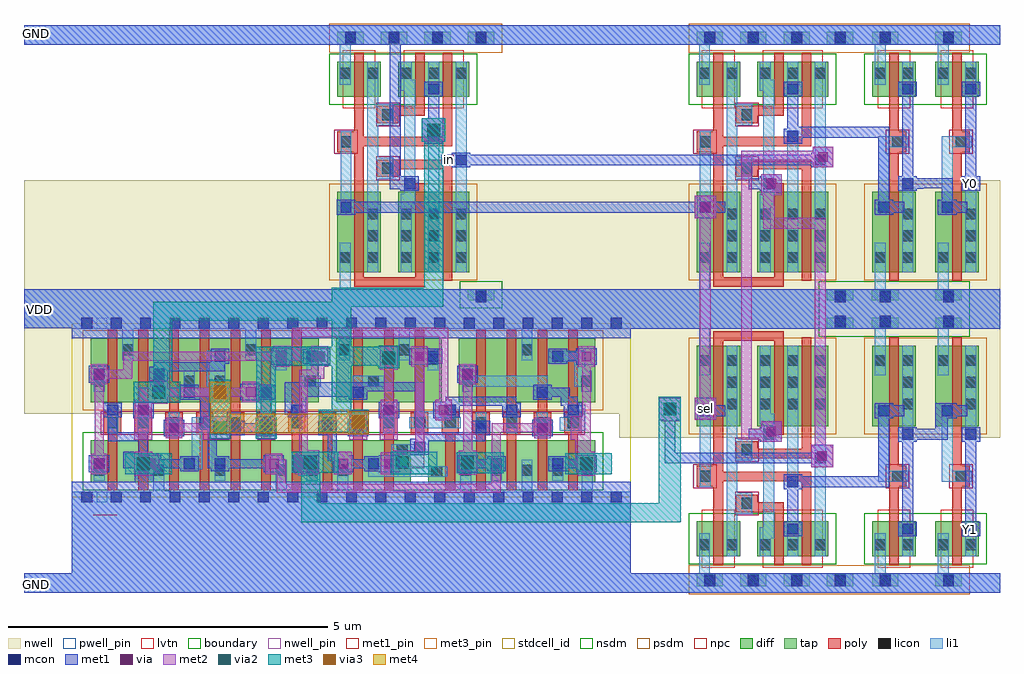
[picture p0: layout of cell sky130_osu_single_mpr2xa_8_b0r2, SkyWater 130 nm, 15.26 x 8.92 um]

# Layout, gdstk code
import gdstk
lib = gdstk.Library(unit=1e-6, precision=1e-09)
def R(c, l, rs):  # rectangles x0, y0, x1, y1
    for r in rs: c.add(gdstk.rectangle(r[:2], r[2:], *l))
def A(c, l, x, y, w, h, nx, ny, dx, dy):  # array of equal rectangles
    R(c, l, [(x+i*dx, y+j*dy, x+i*dx+w, y+j*dy+h) for i in range(nx) for j in range(ny)])
nwell_pin = (64, 16)
nwell = (64, 20)
diff = (65, 20)
tap = (65, 44)
poly = (66, 20)
licon = (66, 44)
li1 = (67, 20)
mcon = (67, 44)
met1_pin = (68, 16)
met1 = (68, 20)
via = (68, 44)
met2 = (69, 20)
via2 = (69, 44)
met3_pin = (70, 16)
met3 = (70, 20)
via3 = (70, 44)
met4 = (71, 20)
stdcell_id = (81, 4)
nsdm = (93, 44)
psdm = (94, 20)
npc = (95, 20)
pwell_pin = (122, 16)
lvtn = (125, 44)
boundary = (235, 4)

sky130_osu_sc_12t_hs__fi = lib.new_cell('sky130_osu_sc_12T_hs__fill_2')
R(sky130_osu_sc_12t_hs__fi, nwell, [(-0.035,2.425,0.25,4.485)])
R(sky130_osu_sc_12t_hs__fi, li1, [(0,0,0.22,0.305), (0,4.135,0.22,4.44)])
R(sky130_osu_sc_12t_hs__fi, met1, [(0,0,0.22,0.305), (0,4.135,0.22,4.44)])
sky130_osu_sc_12t_hs__fi.add(gdstk.Label('vdd', (0.11,4.28), layer=68, texttype=5))
sky130_osu_sc_12t_hs__fi.add(gdstk.Label('gnd', (0.115,0.14), layer=68, texttype=5))

sky130_osu_sc_12t_hs__mu = lib.new_cell('sky130_osu_sc_12T_hs__mux2_1')
R(sky130_osu_sc_12t_hs__mu, nwell, [(-0.045,2.425,2.765,4.515)])
R(sky130_osu_sc_12t_hs__mu, diff, [(0.135,0.575,0.815,1.125), (1.085,0.575,2.195,1.125), (0.135,2.605,0.815,3.865), (1.085,2.605,2.195,3.865)])
A(sky130_osu_sc_12t_hs__mu, tap, 0.135, 0.105, 0.41, 0.2, 4, 1, 0.68, 0)
R(sky130_osu_sc_12t_hs__mu, tap, [(2.17,4.135,2.585,4.305)])
R(sky130_osu_sc_12t_hs__mu, poly, [(0.4,0.445,0.55,1.66), (1.35,0.445,1.5,1.265), (1.78,0.445,1.93,1.745), (0.76,1.265,1.5,1.415), (0.76,1.415,1.09,1.535), (0.135,1.66,0.55,1.745), (0.135,1.745,1.93,1.895), (0.135,1.895,0.55,1.99), (0.4,1.99,0.55,3.94), (0.76,2.105,1.93,2.255), (0.76,2.255,1.09,2.375), (1.78,2.255,1.93,3.995), (1.35,2.475,1.5,3.94), (0.4,3.94,1.5,4.09)])
A(sky130_osu_sc_12t_hs__mu, licon, 0.255, 0.135, 0.17, 0.17, 4, 1, 0.68, 0)
A(sky130_osu_sc_12t_hs__mu, licon, 1.125, 0.67, 0.17, 0.17, 3, 2, 0.43, 2.2)
A(sky130_osu_sc_12t_hs__mu, licon, 0.605, 2.87, 0.17, 0.17, 1, 3, 0, 0.34)
A(sky130_osu_sc_12t_hs__mu, licon, 1.125, 3.21, 0.17, 0.17, 3, 2, 0.43, 0.34)
R(sky130_osu_sc_12t_hs__mu, licon, [(0.175,0.67,0.345,0.84), (0.605,0.67,0.775,0.84), (0.84,1.315,1.01,1.485), (0.185,1.74,0.355,1.91), (0.84,2.155,1.01,2.325), (0.175,3.55,0.345,3.72), (2.295,4.135,2.465,4.305)])
R(sky130_osu_sc_12t_hs__mu, li1, [(0,0,2.75,0.305), (0.175,0.305,0.345,0.935), (0.605,0.575,0.775,1.235), (1.125,0.575,1.295,0.855), (1.555,0.575,1.725,1.085), (1.985,0.575,2.155,3.865), (1.125,0.855,1.35,1.025), (1.18,1.025,1.35,2.635), (0.605,1.235,1.01,1.565), (0.605,1.565,0.775,2.075), (1.555,1.655,1.725,3.865), (0.185,1.66,0.355,2.935), (0.605,2.075,1.01,2.405), (0.605,2.405,0.775,3.865), (1.125,2.635,1.35,2.805), (1.125,2.805,1.295,3.865), (0.175,3.405,0.345,4.135), (0,4.135,2.75,4.44)])
A(sky130_osu_sc_12t_hs__mu, mcon, 0.255, 0.105, 0.17, 0.17, 4, 1, 0.68, 0)
R(sky130_osu_sc_12t_hs__mu, mcon, [(1.555,0.915,1.725,1.085), (1.555,1.655,1.725,1.825), (1.985,2.025,2.155,2.195), (1.18,2.395,1.35,2.565), (0.185,2.765,0.355,2.935), (2.295,4.165,2.465,4.335)])
R(sky130_osu_sc_12t_hs__mu, met1, [(0,0,2.75,0.305), (1.495,0.885,1.785,1.115), (1.555,1.115,1.725,1.625), (1.495,1.625,1.785,1.855), (1.925,1.995,2.215,2.025), (1.755,2.025,2.215,2.195), (1.925,2.195,2.215,2.225), (1.12,2.365,1.41,2.395), (0.95,2.395,1.41,2.565), (1.12,2.565,1.41,2.595), (0.125,2.735,0.415,2.765), (0.125,2.765,0.585,2.935), (0.125,2.935,0.415,2.965), (0,4.135,2.75,4.44)])
R(sky130_osu_sc_12t_hs__mu, nsdm, [(0.01,0.45,2.32,1.25), (2.045,4.01,2.71,4.43)])
R(sky130_osu_sc_12t_hs__mu, psdm, [(0.01,-0.02,2.71,0.43), (0.01,2.48,2.32,3.99)])
R(sky130_osu_sc_12t_hs__mu, npc, [(0.74,1.215,1.11,1.585), (0.085,1.64,0.455,2.01), (0.74,2.055,1.11,2.425)])
R(sky130_osu_sc_12t_hs__mu, lvtn, [(0.22,0.395,0.73,1.305), (1.17,0.395,2.11,1.305)])
sky130_osu_sc_12t_hs__mu.add(gdstk.Label('S0', (0.27,2.85), layer=68, texttype=5))
sky130_osu_sc_12t_hs__mu.add(gdstk.Label('Y', (1.64,1.74), layer=68, texttype=5))
sky130_osu_sc_12t_hs__mu.add(gdstk.Label('A0', (1.265,2.48), layer=68, texttype=5))
sky130_osu_sc_12t_hs__mu.add(gdstk.Label('A1', (2.07,2.11), layer=68, texttype=5))
sky130_osu_sc_12t_hs__mu.add(gdstk.Label('VDD', (2.38,4.2), layer=68, texttype=5))
sky130_osu_sc_12t_hs__mu.add(gdstk.Label('GND ', (0.34,0.24), layer=68, texttype=5))

c_sky130_osu_sc_12t_hs__fi = lib.new_cell('sky130_osu_sc_12T_hs__fill_8')
R(c_sky130_osu_sc_12t_hs__fi, nwell, [(-0.045,2.425,0.895,4.485)])
R(c_sky130_osu_sc_12t_hs__fi, li1, [(0,0,0.88,0.305), (0,4.135,0.88,4.44)])
R(c_sky130_osu_sc_12t_hs__fi, met1, [(0,0,0.88,0.305), (0,4.135,0.88,4.44)])
c_sky130_osu_sc_12t_hs__fi.add(gdstk.Label('vdd', (0.555,4.295), layer=68, texttype=5))
c_sky130_osu_sc_12t_hs__fi.add(gdstk.Label('gnd', (0.56,0.14), layer=68, texttype=5))

sky130_osu_sc_12t_hs__in = lib.new_cell('sky130_osu_sc_12T_hs__inv_1')
R(sky130_osu_sc_12t_hs__in, nwell, [(-0.05,2.425,0.995,4.515)])
R(sky130_osu_sc_12t_hs__in, diff, [(0.135,0.575,0.815,1.125), (0.135,2.605,0.815,3.865)])
R(sky130_osu_sc_12t_hs__in, tap, [(0.135,0.105,0.545,0.305), (0.13,4.135,0.55,4.305)])
R(sky130_osu_sc_12t_hs__in, poly, [(0.4,0.445,0.55,1.66), (0.4,1.66,0.67,1.99), (0.4,1.99,0.55,3.995)])
A(sky130_osu_sc_12t_hs__in, licon, 0.605, 2.87, 0.17, 0.17, 1, 3, 0, 0.34)
R(sky130_osu_sc_12t_hs__in, licon, [(0.255,0.135,0.425,0.305), (0.175,0.67,0.345,0.84), (0.605,0.67,0.775,0.84), (0.45,1.74,0.62,1.91), (0.175,3.55,0.345,3.72), (0.255,4.135,0.425,4.305)])
R(sky130_osu_sc_12t_hs__in, li1, [(0,0,0.99,0.305), (0.175,0.305,0.345,0.935), (0.605,0.575,0.775,1.085), (0.235,1.74,0.7,1.91), (0.235,1.91,0.405,2.935), (0.605,2.395,0.775,3.865), (0.175,3.405,0.345,4.135), (0,4.135,0.99,4.44)])
R(sky130_osu_sc_12t_hs__in, mcon, [(0.255,0.105,0.425,0.275), (0.605,0.915,0.775,1.085), (0.605,2.395,0.775,2.565), (0.235,2.765,0.405,2.935), (0.255,4.165,0.425,4.335)])
R(sky130_osu_sc_12t_hs__in, met1, [(0,0,0.99,0.305), (0.545,0.885,0.835,1.115), (0.605,1.115,0.775,2.365), (0.545,2.365,0.835,2.595), (0.175,2.735,0.465,2.765), (0.175,2.765,0.635,2.935), (0.175,2.935,0.465,2.965), (0,4.135,0.99,4.44)])
R(sky130_osu_sc_12t_hs__in, nsdm, [(0.01,0.45,0.94,1.25), (0.005,4.01,0.675,4.43)])
R(sky130_osu_sc_12t_hs__in, psdm, [(0.01,-0.02,0.67,0.43), (0.01,2.48,0.94,3.99)])
R(sky130_osu_sc_12t_hs__in, npc, [(0.35,1.64,0.72,2.01)])
R(sky130_osu_sc_12t_hs__in, lvtn, [(0.22,0.395,0.73,1.305)])
sky130_osu_sc_12t_hs__in.add(gdstk.Label('Y', (0.755,1.725), layer=68, texttype=5))
sky130_osu_sc_12t_hs__in.add(gdstk.Label('A', (0.32,2.85), layer=68, texttype=5))
sky130_osu_sc_12t_hs__in.add(gdstk.Label('VDD', (0.34,4.2), layer=68, texttype=5))
sky130_osu_sc_12t_hs__in.add(gdstk.Label('GND', (0.34,0.24), layer=68, texttype=5))

scs130hd_mpr2xa_8 = lib.new_cell('scs130hd_mpr2xa_8')
R(scs130hd_mpr2xa_8, nwell_pin, [(0.385,2.635,0.555,2.805)])
R(scs130hd_mpr2xa_8, nwell, [(-0.24,1.305,8.98,2.91)])
R(scs130hd_mpr2xa_8, diff, [(0.29,0.235,5.3,0.885), (5.57,0.235,8.18,0.885), (0.29,1.485,3.86,2.485), (4.13,1.485,5.78,2.485), (6.05,1.485,8.18,2.485)])
A(scs130hd_mpr2xa_8, poly, 0.56, 0.105, 0.15, 0.89, 10, 1, 0.48, 0)
A(scs130hd_mpr2xa_8, poly, 5.84, 0.105, 0.15, 0.89, 5, 1, 0.48, 0)
A(scs130hd_mpr2xa_8, poly, 0.5, 0.995, 0.27, 0.33, 16, 1, 0.48, 0)
A(scs130hd_mpr2xa_8, poly, 0.56, 1.325, 0.15, 1.29, 7, 1, 0.48, 0)
A(scs130hd_mpr2xa_8, poly, 4.4, 1.325, 0.15, 1.29, 3, 1, 0.48, 0)
A(scs130hd_mpr2xa_8, poly, 6.32, 1.325, 0.15, 1.29, 4, 1, 0.48, 0)
A(scs130hd_mpr2xa_8, licon, 1.27, 0.335, 0.17, 0.17, 3, 1, 0.96, 0)
A(scs130hd_mpr2xa_8, licon, 6.07, 0.335, 0.17, 0.17, 4, 1, 0.48, 0)
A(scs130hd_mpr2xa_8, licon, 0.55, 1.075, 0.17, 0.17, 16, 1, 0.48, 0)
A(scs130hd_mpr2xa_8, licon, 1.27, 1.725, 0.17, 0.17, 3, 1, 0.48, 0)
R(scs130hd_mpr2xa_8, licon, [(5.62,0.315,5.79,0.485), (0.34,0.335,0.51,0.505), (3.67,0.335,3.84,0.505), (4.15,0.335,4.32,0.505), (7.97,0.335,8.14,0.505), (5.08,0.655,5.25,0.825), (0.34,1.725,0.51,1.895), (3.64,1.725,3.81,1.895), (4.63,1.725,4.8,1.895), (6.1,1.725,6.27,1.895), (7.96,1.725,8.13,1.895), (3.19,2.065,3.36,2.235), (5.56,2.065,5.73,2.235), (0.79,2.215,0.96,2.385), (2.71,2.215,2.88,2.385), (4.17,2.215,4.34,2.385), (5.11,2.215,5.28,2.385), (7.03,2.215,7.2,2.385)])
R(scs130hd_mpr2xa_8, li1, [(0,-0.085,8.74,0.085), (1.27,0.085,1.44,0.585), (3.19,0.085,3.36,0.585), (4.15,0.085,4.32,0.585), (6.07,0.085,6.24,0.585), (7.03,0.085,7.2,0.585), (7.97,0.085,8.14,0.585), (0.34,0.255,0.51,0.605), (2.23,0.255,2.4,0.605), (3.67,0.255,3.84,0.335), (6.55,0.255,6.72,0.605), (7.51,0.255,7.68,0.605), (4.63,0.315,5.87,0.485), (3.535,0.335,3.84,0.555), (1.75,0.435,2.04,0.605), (4.63,0.485,4.8,0.605), (3.63,0.555,3.84,0.585), (3.63,0.585,3.8,0.605), (1.87,0.605,2.04,1.075), (4.99,0.655,5.52,0.825), (5.35,0.825,5.52,0.865), (0.55,0.995,0.72,1.445), (1.03,0.995,1.2,1.445), (1.51,0.995,1.68,1.325), (2.47,0.995,2.64,1.325), (2.95,0.995,3.12,1.725), (3.43,0.995,3.6,1.445), (3.91,0.995,4.08,1.325), (4.39,0.995,4.56,1.325), (4.87,0.995,5.04,1.445), (6.31,0.995,6.48,1.325), (6.79,0.995,6.96,1.445), (7.27,0.995,7.44,1.325), (7.63,1.035,8.025,1.245), (1.87,1.075,2.24,1.245), (5.27,1.075,6.08,1.245), (5.35,1.245,6,1.345), (7.75,1.245,8.025,1.445), (5.83,1.345,6,1.445), (1.75,1.555,1.92,1.975), (4.39,1.555,4.56,1.725), (7.27,1.555,7.44,1.725), (0.34,1.645,0.51,2.005), (1.27,1.645,1.44,2.005), (2.23,1.645,2.4,1.725), (6.1,1.645,6.27,1.725), (7.96,1.645,8.13,1.725), (2.11,1.725,2.4,2.285), (3.56,1.725,3.89,1.895), (4.39,1.725,4.88,1.895), (6.1,1.725,7.44,1.895), (7.855,1.725,8.13,1.975), (3.67,1.895,3.84,2.285), (6.1,1.895,6.27,2.005), (7.855,1.975,8.025,2.115), (3.19,1.985,3.36,2.315), (5.56,1.985,5.73,2.315), (7.51,2.115,8.025,2.285), (0.79,2.135,0.96,2.635), (2.71,2.135,2.88,2.635), (4.17,2.135,4.34,2.635), (5.11,2.135,5.28,2.635), (7.03,2.135,7.2,2.635), (0,2.635,8.74,2.805)])
A(scs130hd_mpr2xa_8, mcon, 0.145, -0.085, 0.17, 0.17, 19, 2, 0.46, 2.72)
A(scs130hd_mpr2xa_8, mcon, 4.87, 1.275, 0.17, 0.17, 4, 1, 0.96, 0)
R(scs130hd_mpr2xa_8, mcon, [(0.34,0.435,0.51,0.605), (1.75,0.435,1.92,0.605), (2.23,0.435,2.4,0.605), (3.63,0.435,3.8,0.605), (4.63,0.435,4.8,0.605), (6.55,0.435,6.72,0.605), (7.51,0.435,7.68,0.605), (5.35,0.695,5.52,0.865), (1.51,0.995,1.68,1.165), (2.47,0.995,2.64,1.165), (3.91,0.995,4.08,1.165), (4.39,0.995,4.56,1.165), (6.31,0.995,6.48,1.165), (7.27,0.995,7.44,1.165), (0.55,1.275,0.72,1.445), (1.03,1.275,1.2,1.445), (3.43,1.275,3.6,1.445), (1.75,1.555,1.92,1.725), (2.95,1.555,3.12,1.725), (4.39,1.555,4.56,1.725), (7.27,1.555,7.44,1.725), (0.34,1.835,0.51,2.005), (1.27,1.835,1.44,2.005), (6.1,1.835,6.27,2.005), (2.23,2.115,2.4,2.285), (3.19,2.115,3.36,2.285), (3.67,2.115,3.84,2.285), (5.56,2.115,5.73,2.285), (7.51,2.115,7.68,2.285)])
R(scs130hd_mpr2xa_8, met1_pin, [(0.155,-0.085,0.325,0.085), (0.155,2.635,0.325,2.805)])
A(scs130hd_mpr2xa_8, met1, 1.435, 0.95, 0.32, 0.26, 3, 1, 2.88, 0)
R(scs130hd_mpr2xa_8, met1, [(0,-0.24,8.74,0.24), (0.265,0.39,0.585,0.65), (1.075,0.39,1.395,0.45), (2.995,0.39,3.315,0.45), (3.46,0.39,3.86,0.65), (4.075,0.39,4.395,0.45), (4.795,0.39,5.115,0.405), (6.025,0.39,6.345,0.45), (7.885,0.39,8.205,0.45), (1.69,0.405,1.98,0.45), (2.17,0.405,2.46,0.45), (4.57,0.405,5.115,0.45), (6.49,0.405,6.78,0.45), (7.45,0.405,7.74,0.45), (0.805,0.45,1.98,0.59), (2.125,0.45,3.315,0.59), (4.075,0.45,5.115,0.57), (6.025,0.45,6.78,0.59), (7.45,0.45,8.205,0.59), (4,0.57,5.115,0.59), (0.805,0.59,1.395,0.65), (1.69,0.59,1.98,0.635), (2.125,0.59,2.46,0.635), (2.995,0.59,3.315,0.65), (4,0.59,4.395,0.65), (4.57,0.59,5.115,0.635), (6.025,0.59,6.345,0.65), (6.49,0.59,6.78,0.635), (7.45,0.59,7.74,0.635), (7.885,0.59,8.205,0.65), (2.125,0.635,2.265,1.05), (4.795,0.635,5.115,0.65), (0.805,0.65,1.185,0.71), (4,0.65,4.305,0.71), (5.29,0.665,5.58,0.87), (1.045,0.71,1.185,0.87), (4,0.71,4.14,0.965), (0.565,0.87,1.185,1.01), (5.29,0.87,6.465,0.915), (5.365,0.915,6.465,0.965), (2.875,0.95,3.195,1.01), (2.41,0.965,2.7,1.01), (3.85,0.965,4.14,1.195), (5.365,0.965,6.54,1.01), (0.565,1.01,0.705,1.245), (2.41,1.01,3.195,1.15), (5.365,1.01,5.505,1.655), (6.25,1.01,6.54,1.195), (2.005,1.05,2.265,1.19), (2.41,1.15,2.7,1.195), (2.875,1.15,3.195,1.21), (2.005,1.19,2.145,1.525), (0.955,1.23,1.275,1.49), (4.795,1.23,5.115,1.49), (5.65,1.23,5.97,1.245), (0.49,1.245,0.78,1.475), (3.37,1.245,3.66,1.29), (5.65,1.245,6.06,1.43), (6.73,1.245,7.02,1.43), (7.69,1.245,7.98,1.43), (3.325,1.29,3.66,1.57), (5.65,1.43,7.02,1.475), (7.645,1.43,7.98,1.475), (5.65,1.475,6.945,1.49), (7.645,1.475,7.905,1.57), (5.845,1.49,6.945,1.57), (2.635,1.51,2.955,1.525), (1.69,1.525,2.145,1.71), (2.635,1.525,3.18,1.755), (4.33,1.525,4.62,1.57), (7.21,1.525,7.5,1.57), (3.325,1.57,4.62,1.655), (7.21,1.57,7.785,1.71), (3.325,1.655,5.505,1.795), (1.69,1.71,1.98,1.755), (7.21,1.71,7.5,1.755), (2.635,1.755,2.955,1.77), (0.265,1.79,0.585,2.05), (6.025,1.79,6.345,2.05), (1.21,1.805,1.5,1.965), (1.21,1.965,2.385,2.035), (1.285,2.035,2.385,2.085), (3.115,2.07,3.435,2.33), (3.715,2.07,4.035,2.085), (5.275,2.07,5.595,2.085), (7.885,2.07,8.205,2.13), (1.285,2.085,2.46,2.105), (3.61,2.085,4.035,2.315), (5.275,2.085,5.79,2.315), (7.45,2.085,7.74,2.13), (2.17,2.105,2.46,2.315), (7.45,2.13,8.205,2.27), (7.45,2.27,7.74,2.315), (7.885,2.27,8.205,2.33), (3.715,2.315,4.035,2.33), (5.275,2.315,5.595,2.33), (0,2.48,8.74,2.96)])
A(scs130hd_mpr2xa_8, via, 1.52, 1.005, 0.15, 0.15, 3, 1, 1.44, 0)
R(scs130hd_mpr2xa_8, via, [(0.35,0.445,0.5,0.595), (1.16,0.445,1.31,0.595), (3.08,0.445,3.23,0.595), (3.545,0.445,3.695,0.595), (4.16,0.445,4.31,0.595), (4.88,0.445,5.03,0.595), (6.11,0.445,6.26,0.595), (7.97,0.445,8.12,0.595), (7.28,1.005,7.43,1.155), (1.04,1.285,1.19,1.435), (4.88,1.285,5.03,1.435), (5.735,1.285,5.885,1.435), (2.72,1.565,2.87,1.715), (0.35,1.845,0.5,1.995), (6.11,1.845,6.26,1.995), (3.2,2.125,3.35,2.275), (3.8,2.125,3.95,2.275), (5.36,2.125,5.51,2.275), (7.97,2.125,8.12,2.275)])
A(scs130hd_mpr2xa_8, met2, 0.975, 0.895, 0.28, 0.37, 3, 1, 1.92, 0)
R(scs130hd_mpr2xa_8, met2, [(3.205,0.07,6.705,0.21), (3.205,0.21,3.345,0.36), (6.565,0.21,6.705,1.01), (0.975,0.335,1.255,0.36), (7.905,0.335,8.185,0.45), (6.045,0.35,6.325,0.72), (4.825,0.355,5.305,0.45), (0.295,0.36,0.555,0.68), (0.975,0.36,1.365,0.68), (3.025,0.36,3.345,0.59), (3.49,0.36,3.865,0.68), (4.095,0.36,4.375,0.705), (4.825,0.45,5.505,0.7), (7.87,0.45,8.185,0.705), (3.025,0.59,3.285,0.68), (0.355,0.68,0.495,1.76), (0.975,0.68,1.255,0.705), (3.55,0.68,3.865,0.73), (5.025,0.7,5.505,0.725), (7.87,0.705,8.115,0.895), (6.115,0.72,6.255,1.76), (5.365,0.725,5.505,2.04), (3.55,0.73,3.69,1.85), (2.055,0.895,2.465,1.01), (4.335,0.895,4.615,1.36), (7.8,0.895,8.115,1.265), (1.465,0.92,1.725,1.01), (7.225,0.92,7.485,1.01), (1.465,1.01,2.465,1.15), (6.565,1.01,7.485,1.15), (1.465,1.15,1.725,1.24), (2.055,1.15,2.465,1.265), (7.225,1.15,7.485,1.24), (5.68,1.2,5.94,1.52), (0.985,1.265,1.245,1.455), (4.825,1.265,5.085,1.52), (7.975,1.265,8.115,2.04), (0.985,1.455,1.495,1.52), (2.665,1.48,2.925,1.57), (1.045,1.52,1.495,1.57), (4.885,1.52,5.025,1.99), (5.74,1.52,5.88,2.51), (1.045,1.57,2.925,1.71), (1.215,1.71,1.495,1.825), (2.665,1.71,2.925,1.8), (0.295,1.76,0.555,1.85), (6.055,1.76,6.315,2.08), (0.295,1.85,0.945,1.99), (3.55,1.85,3.945,1.99), (0.295,1.99,0.555,2.08), (0.805,1.99,0.945,2.13), (3.745,1.99,3.945,2.04), (4.815,1.99,5.095,2.36), (3.145,2.04,3.405,2.13), (3.745,2.04,4.005,2.36), (5.305,2.04,5.565,2.36), (7.915,2.04,8.175,2.36), (0.805,2.13,3.585,2.27), (3.145,2.27,3.585,2.36), (3.445,2.36,3.585,2.51), (3.445,2.51,5.88,2.65)])
R(scs130hd_mpr2xa_8, via2, [(1.015,0.42,1.215,0.62), (7.945,0.42,8.145,0.62), (6.085,0.435,6.285,0.635), (5.065,0.44,5.265,0.64), (3.625,0.445,3.825,0.645), (2.22,0.98,2.42,1.18), (2.935,0.98,3.135,1.18), (4.375,1.075,4.575,1.275), (1.255,1.54,1.455,1.74), (4.855,2.075,5.055,2.275)])
R(scs130hd_mpr2xa_8, met3_pin, [(0.83,0.355,1.56,0.685), (4.985,0.355,5.715,0.705), (7.71,0.355,8.44,0.685), (6.02,0.37,6.75,0.7), (3.435,0.38,4.165,0.71), (0.965,1.475,1.695,1.805), (4.79,2.35,5.12,2.365)])
R(scs130hd_mpr2xa_8, met3, [(0.83,0.355,1.56,0.685), (4.985,0.355,5.715,0.705), (7.71,0.355,8.44,0.685), (6.02,0.37,6.75,0.7), (3.435,0.38,4.165,0.71), (2.155,0.915,2.485,1.45), (2.87,0.915,3.2,1.245), (4.335,0.985,4.64,1.015), (4.315,1.015,4.64,1.02), (3.86,1.02,4.64,1.365), (2.885,1.245,3.185,2.05), (2.155,1.45,2.475,1.83), (0.965,1.475,1.695,1.805), (4.79,2.01,5.12,2.05), (2.885,2.05,5.12,2.35), (4.79,2.35,5.12,2.365)])
R(scs130hd_mpr2xa_8, via3, [(4.375,1.075,4.575,1.275), (2.215,1.54,2.415,1.74)])
R(scs130hd_mpr2xa_8, met4, [(4.31,0.985,4.64,1), (2.165,1,4.64,1.3), (2.165,1.3,2.48,1.475), (4.31,1.3,4.64,1.34), (2.15,1.475,2.48,1.805)])
R(scs130hd_mpr2xa_8, stdcell_id, [(0,0,8.74,2.72)])
R(scs130hd_mpr2xa_8, nsdm, [(0.165,0.11,8.305,1.01)])
R(scs130hd_mpr2xa_8, psdm, [(0.165,1.36,8.305,2.61)])
R(scs130hd_mpr2xa_8, npc, [(0.45,0.975,8.02,1.345)])
R(scs130hd_mpr2xa_8, pwell_pin, [(0.385,-0.085,0.555,0.085)])
R(scs130hd_mpr2xa_8, boundary, [(0,0,8.74,2.72)])
scs130hd_mpr2xa_8.add(gdstk.Label('VPB', (0.47,2.72), layer=64, texttype=5))
scs130hd_mpr2xa_8.add(gdstk.Label('VNB', (0.47,0), layer=64, texttype=59))
scs130hd_mpr2xa_8.add(gdstk.Label('R0', (5.35,0.53), layer=70, texttype=5))
scs130hd_mpr2xa_8.add(gdstk.Label('R1', (8.075,0.52), layer=70, texttype=5))
scs130hd_mpr2xa_8.add(gdstk.Label('R2', (3.8,0.545), layer=70, texttype=5))
scs130hd_mpr2xa_8.add(gdstk.Label('R3', (6.385,0.535), layer=70, texttype=5))
scs130hd_mpr2xa_8.add(gdstk.Label('B1', (4.955,2.357), layer=70, texttype=5))
scs130hd_mpr2xa_8.add(gdstk.Label('B0', (1.195,0.52), layer=70, texttype=5))
scs130hd_mpr2xa_8.add(gdstk.Label('A0', (1.33,1.64), layer=70, texttype=5))
scs130hd_mpr2xa_8.add(gdstk.Label('vgnd', (0.24,0), layer=68, texttype=5))
scs130hd_mpr2xa_8.add(gdstk.Label('vpwr', (0.24,2.72), layer=68, texttype=5))
scs130hd_mpr2xa_8.add(gdstk.Label('A1', (4.64,1.245), layer=71, texttype=5))

sky130_osu_single_mpr2xa = lib.new_cell('sky130_osu_single_mpr2xa_8_b0r2')
R(sky130_osu_single_mpr2xa, nwell, [(0.485,2.425,1.555,4.135), (6.21,2.425,6.435,6.455), (5.465,2.565,5.615,2.74), (1.66,2.705,2,3.055), (-8.825,2.805,-8.28,4.14), (0.475,4.135,1.605,4.445), (-8.825,4.14,-8.07,4.305), (-8.825,4.305,-0.37,4.4), (-8.825,4.4,-0.205,4.445), (-8.825,4.445,1.605,4.745), (-8.825,4.745,1.555,5.94), (1.66,5.86,2,6.21), (-8.825,5.94,1.53,6.455)])
R(sky130_osu_single_mpr2xa, diff, [(5.895,0.915,6.065,1.085)])
R(sky130_osu_single_mpr2xa, li1, [(-8.825,0,1.81,0.305), (6.255,0,6.435,0.305), (-8.075,0.305,0.665,1.425), (5.895,0.915,6.065,1.085), (-7.95,1.425,0.665,1.5), (-6.725,1.5,-6.53,1.595), (-4.89,1.5,-4.695,1.565), (-3.05,1.5,-2.855,1.595), (-1.2,1.5,-1,1.585), (0.47,1.5,0.665,1.585), (0.475,4.135,1.605,4.295), (6.255,4.135,6.435,4.745), (-8.825,4.14,-8.07,4.305), (-0.505,4.295,1.605,4.305), (-8.825,4.305,1.605,4.615), (-8.825,4.615,-0.37,4.745), (0.475,4.615,1.605,4.745), (5.895,6.315,6.065,6.485), (-8.825,8.575,1.81,8.88), (6.255,8.575,6.435,8.88)])
R(sky130_osu_single_mpr2xa, mcon, [(5.895,0.915,6.065,1.085), (5.895,6.315,6.065,6.485)])
R(sky130_osu_single_mpr2xa, met1_pin, [(5.895,0.915,6.065,1.085), (5.895,6.315,6.065,6.485), (-2.245,6.685,-2.105,6.855)])
R(sky130_osu_single_mpr2xa, met1, [(-8.825,0,1.81,0.305), (6.255,0,6.435,0.305), (-8.075,0.305,0.665,1.425), (5.895,0.915,6.065,1.085), (-7.95,1.425,0.665,1.5), (-6.725,1.5,-6.53,1.595), (-4.89,1.5,-4.695,1.565), (-3.05,1.5,-2.855,1.595), (0.47,1.5,0.665,1.585), (-1.2,1.545,-1,1.585), (0.47,1.585,0.595,1.625), (-7.09,1.655,-6.8,2.055), (3.11,1.655,4.7,1.82), (3.11,1.82,3.28,1.825), (3.34,1.82,4.7,1.825), (4.535,1.825,4.7,2.735), (3.48,1.965,3.83,2.025), (1.19,2.025,3.83,2.195), (1.19,2.195,1.36,2.7), (3.48,2.195,3.83,2.315), (2.705,2.365,3.025,2.395), (2.67,2.395,3.025,2.565), (5.07,2.395,5.615,2.565), (2.705,2.565,3.025,2.685), (5.425,2.565,5.615,2.74), (1.1,2.7,1.44,3.05), (1.66,2.705,2,3.055), (4.535,2.735,4.71,2.75), (5.425,2.74,5.53,2.965), (4.54,2.75,4.71,2.765), (4.535,2.765,4.71,2.8), (4.535,2.8,4.705,2.935), (0.475,4.135,1.605,4.295), (6.255,4.135,6.435,4.745), (-8.825,4.14,-8.07,4.305), (-0.505,4.295,1.605,4.305), (-8.825,4.305,-2.19,4.745), (-1.66,4.305,1.605,4.615), (-1.66,4.615,-0.37,4.745), (0.475,4.615,1.605,4.745), (1.66,5.86,2,5.945), (4.53,5.94,4.7,7.12), (-3.645,5.945,2,6.115), (5.535,5.945,5.695,6.145), (1.66,6.115,2,6.21), (5.525,6.145,5.695,6.325), (2.705,6.255,3.025,6.545), (-3.105,6.315,-2.935,8.575), (5.895,6.315,6.065,6.485), (5.075,6.32,5.235,6.325), (5.075,6.325,5.695,6.485), (3.505,6.655,3.83,6.685), (-2.245,6.685,3.83,6.855), (3.505,6.855,3.83,6.98), (-2.605,7.055,-2.235,7.425), (3.11,7.055,3.34,7.12), (3.11,7.12,4.7,7.225), (3.34,7.225,4.7,7.255), (3.28,7.255,4.7,7.29), (-8.825,8.575,1.81,8.88), (6.255,8.575,6.435,8.88)])
R(sky130_osu_single_mpr2xa, via, [(3.58,2.065,3.73,2.215), (2.79,2.45,2.94,2.6), (1.2,2.8,1.35,2.95), (1.76,2.805,1.91,2.955), (1.76,5.96,1.91,6.11), (2.79,6.325,2.94,6.475), (3.595,6.74,3.745,6.89), (-2.495,7.165,-2.345,7.315)])
R(sky130_osu_single_mpr2xa, met2, [(-7.74,1.215,-7.37,1.22), (0.055,1.94,0.11,2.14), (3.48,1.965,3.83,2.315), (3.535,2.315,3.71,5.695), (2.705,2.365,3.025,2.395), (2.39,2.395,3.025,2.565), (2.39,2.565,2.55,6.745), (2.705,2.565,3.025,2.685), (1.13,2.685,1.42,2.7), (1.1,2.7,1.44,3.05), (1.66,2.705,2,3.055), (1.13,3.05,1.42,3.065), (1.74,3.055,1.91,5.86), (2.735,5.695,3.71,5.87), (1.66,5.86,2,6.21), (2.735,5.87,2.91,6.045), (2.735,6.045,2.905,6.22), (2.705,6.22,3.025,6.545), (3.505,6.655,3.83,6.745), (2.39,6.745,3.83,6.915), (3.505,6.915,3.83,6.98), (-2.605,7.055,-2.235,7.425)])
R(sky130_osu_single_mpr2xa, via2, [(1.175,2.775,1.375,2.975), (-2.52,7.14,-2.32,7.34)])
R(sky130_osu_single_mpr2xa, met3, [(-4.49,1.105,1.44,1.405), (-4.49,1.405,-4.19,2.025), (1.1,1.405,1.44,3.065), (-4.49,2.025,-4.21,2.12), (-4.01,2.515,-3.71,4.255), (-6.805,3.015,-6.505,4.255), (-6.805,4.255,-3.71,4.475), (-6.805,4.475,-2.27,4.555), (-4.01,4.555,-2.27,4.775), (-2.57,4.775,-2.27,7.055), (-2.605,7.055,-2.235,7.425)])
R(sky130_osu_single_mpr2xa, nsdm, [(5.24,0.45,5.3,1.25), (5.77,0.79,6.19,1.21), (4.265,4.01,4.305,4.43), (4.975,4.01,5.295,4.43), (3.6,4.43,5.965,4.45), (4.265,4.45,4.305,4.87), (4.975,4.45,5.295,4.87), (5.24,7.63,5.3,8.43)])
R(sky130_osu_single_mpr2xa, psdm, [(4.265,-0.02,4.31,0.43), (4.97,-0.02,5.3,0.43), (5.24,2.48,5.3,3.99), (5.24,4.89,5.3,6.4), (4.265,8.45,4.31,8.9), (4.97,8.45,5.3,8.9)])
sky130_osu_single_mpr2xa.add(gdstk.Reference(sky130_osu_sc_12t_hs__fi, (-1.26,8.88), x_reflection=True))
sky130_osu_single_mpr2xa.add(gdstk.Reference(sky130_osu_sc_12t_hs__mu, (-4.06,8.88), x_reflection=True))
sky130_osu_single_mpr2xa.add(gdstk.Reference(c_sky130_osu_sc_12t_hs__fi, (-0.405,8.88), x_reflection=True))
sky130_osu_single_mpr2xa.add(gdstk.Reference(sky130_osu_sc_12t_hs__in, (4.3,0)))
sky130_osu_single_mpr2xa.add(gdstk.Reference(sky130_osu_sc_12t_hs__in, (5.29,0)))
sky130_osu_single_mpr2xa.add(gdstk.Reference(sky130_osu_sc_12t_hs__in, (5.29,8.88), x_reflection=True))
sky130_osu_single_mpr2xa.add(gdstk.Reference(sky130_osu_sc_12t_hs__in, (4.3,8.88), x_reflection=True))
sky130_osu_single_mpr2xa.add(gdstk.Reference(sky130_osu_sc_12t_hs__mu, (1.555,0)))
sky130_osu_single_mpr2xa.add(gdstk.Reference(sky130_osu_sc_12t_hs__mu, (1.555,8.88), x_reflection=True))
sky130_osu_single_mpr2xa.add(gdstk.Reference(scs130hd_mpr2xa_8, (-8.075,1.5)))
sky130_osu_single_mpr2xa.add(gdstk.Label('GND', (-8.625,0.125), layer=68, texttype=5))
sky130_osu_single_mpr2xa.add(gdstk.Label('GND', (-8.625,8.74), layer=68, texttype=5))
sky130_osu_single_mpr2xa.add(gdstk.Label('VDD', (-8.575,4.43), layer=68, texttype=5))
sky130_osu_single_mpr2xa.add(gdstk.Label('sel', (1.825,2.88), layer=69, texttype=5))
sky130_osu_single_mpr2xa.add(gdstk.Label('Y0', (5.98,6.4), layer=68, texttype=5))
sky130_osu_single_mpr2xa.add(gdstk.Label('Y1', (5.98,1), layer=68, texttype=5))
sky130_osu_single_mpr2xa.add(gdstk.Label('in', (-2.175,6.77), layer=68, texttype=5))

lib.write_gds('sky130_osu_single_mpr2xa_8_b0r2.gds')
